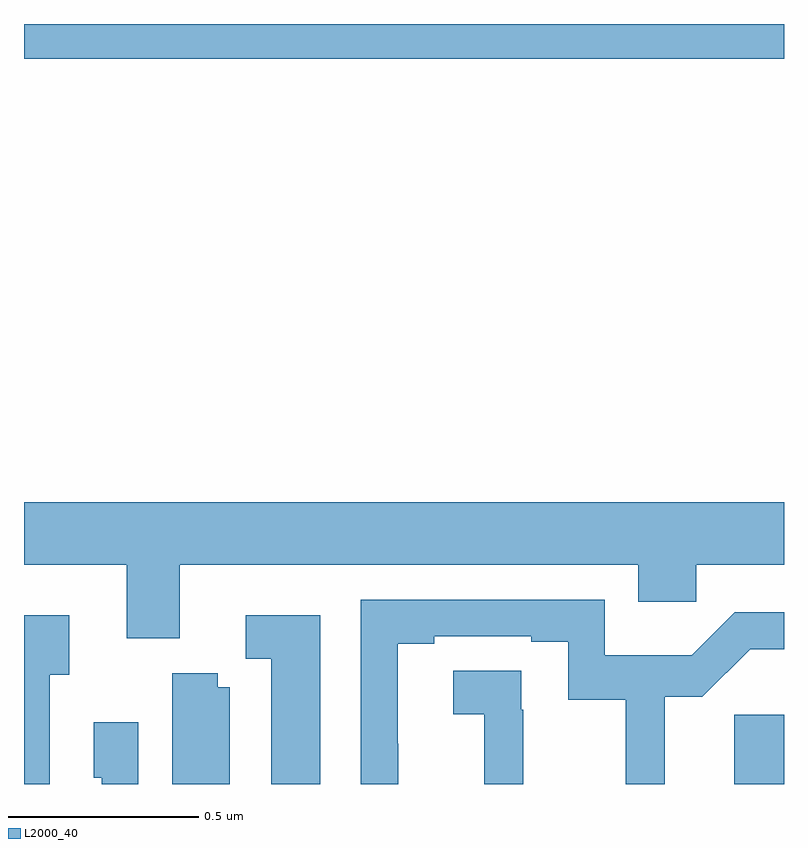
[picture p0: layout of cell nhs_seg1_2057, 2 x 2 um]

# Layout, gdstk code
import gdstk
lib = gdstk.Library(unit=1e-6, precision=1e-09)
def R(c, l, rs):  # rectangles x0, y0, x1, y1
    for r in rs: c.add(gdstk.rectangle(r[:2], r[2:], *l))
def P(c, l, *ps):  # polygons
    for p in ps: c.add(gdstk.Polygon(p, *l))
L2000_40 = (2000, 40)

nhs_seg1_2057 = lib.new_cell('nhs_seg1_2057')
R(nhs_seg1_2057, L2000_40, [(138.869,507.199,139,507.381), (137,509.108,139,509.199)])
P(nhs_seg1_2057, L2000_40, [(137.41,507.776),(138.617,507.776),(138.617,507.678),(138.769,507.678),(138.769,507.776),(139,507.776),(139,507.94),(137,507.94),(137,507.776),(137.27,507.776),(137.27,507.582),(137.41,507.582)],
  [(137.985,507.305),(137.983,507.305),(137.983,507.568),(138.079,507.568),(138.079,507.588),(138.335,507.588),(138.335,507.574),(138.432,507.574),(138.432,507.421),(138.583,507.421),(138.583,507.199),(138.686,507.199),(138.686,507.429),(138.785,507.429),(138.911,507.554),(139,507.554),(139,507.651),(138.87,507.651),(138.757,507.538),(138.528,507.538),(138.528,507.684),(137.886,507.684),(137.886,507.199),(137.985,507.199)],
  [(137.779,507.643),(137.583,507.643),(137.583,507.528),(137.651,507.528),(137.651,507.199),(137.779,507.199)],
  [(137.068,507.487),(137.119,507.487),(137.119,507.643),(137,507.643),(137,507.199),(137.068,507.199)],
  [(138.314,507.395),(138.308,507.395),(138.308,507.497),(138.129,507.497),(138.129,507.382),(138.211,507.382),(138.211,507.199),(138.314,507.199)],
  [(137.542,507.454),(137.51,507.454),(137.51,507.491),(137.39,507.491),(137.39,507.199),(137.542,507.199)],
  [(137.301,507.361),(137.184,507.361),(137.184,507.216),(137.205,507.216),(137.205,507.199),(137.301,507.199)])

lib.write_gds('nhs_seg1_2057.gds')
